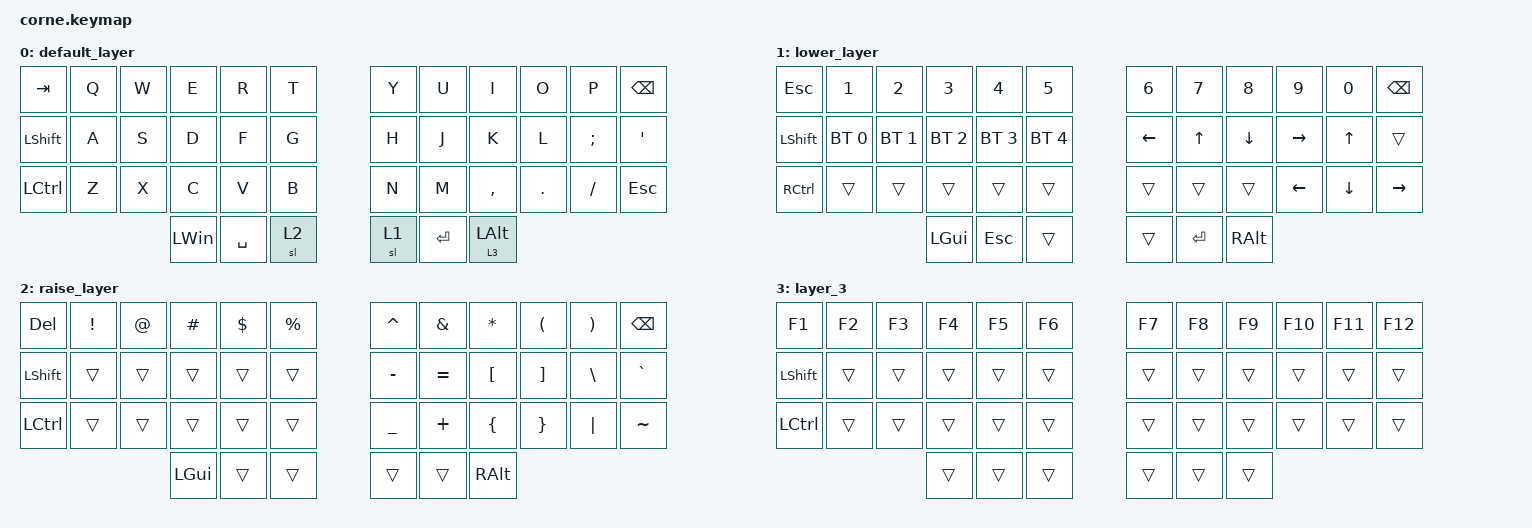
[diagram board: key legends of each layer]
/*
 * Copyright (c) 2020 The ZMK Contributors
 *
 * SPDX-License-Identifier: MIT
 */

#include <behaviors.dtsi>
#include <dt-bindings/zmk/bt.h>
#include <dt-bindings/zmk/keys.h>

/ {
    combos {
        compatible = "zmk,combos";

        commandq {
            bindings = <&none>;
            key-positions = <39 1>;
        };
    };

    keymap {
        compatible = "zmk,keymap";

        default_layer {
            // -----------------------------------------------------------------------------------------
            // |  TAB |  Q  |  W  |  E  |  R  |  T  |   |  Y  |  U   |  I  |  O  |  P  | BSPC |
            // | CTRL |  A  |  S  |  D  |  F  |  G  |   |  H  |  J   |  K  |  L  |  ;  |  '   |
            // | SHFT |  Z  |  X  |  C  |  V  |  B  |   |  N  |  M   |  ,  |  .  |  /  | ESC  |
            //                    | GUI | LWR | SPC |   | ENT | RSE  | ALT |

            bindings = <
&kp TAB         &kp Q  &kp W  &kp E         &kp R      &kp T    &kp Y  &kp U      &kp I           &kp O    &kp P     &kp BSPC
&kp LEFT_SHIFT  &kp A  &kp S  &kp D         &kp F      &kp G    &kp H  &kp J      &kp K           &kp L    &kp SEMI  &kp SQT
&kp LCTRL       &kp Z  &kp X  &kp C         &kp V      &kp B    &kp N  &kp M      &kp COMMA       &kp DOT  &kp FSLH  &kp ESC
                              &kp LEFT_WIN  &kp SPACE  &sl 2    &sl 1  &kp ENTER  &lt 3 LEFT_ALT
            >;
        };

        lower_layer {
            // -----------------------------------------------------------------------------------------
            // |  TAB |  1  |  2  |  3  |  4  |  5  |   |  6  |  7  |  8  |  9  |  0  | BSPC |
            // | BTCLR| BT1 | BT2 | BT3 | BT4 | BT5 |   | LFT | DWN |  UP | RGT |     |      |
            // | SHFT |     |     |     |     |     |   |     |     |     |     |     |      |
            //                    | GUI |     | SPC |   | ENT |     | ALT |

            bindings = <
&kp ESC            &kp N1        &kp N2        &kp N3        &kp N4        &kp N5          &kp N6          &kp N7        &kp N8          &kp N9           &kp N0          &kp BSPC
&kp LEFT_SHIFT     &bt BT_SEL 0  &bt BT_SEL 1  &bt BT_SEL 2  &bt BT_SEL 3  &bt BT_SEL 4    &kp LEFT_ARROW  &kp UP_ARROW  &kp DOWN_ARROW  &kp RIGHT_ARROW  &kp UP_ARROW    &trans
&kp RIGHT_CONTROL  &trans        &trans        &trans        &trans        &trans          &trans          &trans        &trans          &kp LEFT_ARROW   &kp DOWN_ARROW  &kp RIGHT_ARROW
                                               &kp LGUI      &kp ESCAPE    &trans          &trans          &kp ENTER     &kp RALT
            >;
        };

        raise_layer {
            // -----------------------------------------------------------------------------------------
            // |  TAB |  !  |  @  |  #  |  $  |  %  |   |  ^  |  &  |  *  |  (  |  )  | BSPC |
            // | CTRL |     |     |     |     |     |   |  -  |  =  |  [  |  ]  |  \  |  `   |
            // | SHFT |     |     |     |     |     |   |  _  |  +  |  {  |  }  | "|" |  ~   |
            //                    | GUI |     | SPC |   | ENT |     | ALT |

            bindings = <
&kp DELETE        &kp EXCL  &kp AT  &kp HASH  &kp DLLR  &kp PRCNT    &kp CARET  &kp AMPS   &kp ASTRK  &kp LPAR  &kp RPAR  &kp BSPC
&kp LEFT_SHIFT    &trans    &trans  &trans    &trans    &trans       &kp MINUS  &kp EQUAL  &kp LBKT   &kp RBKT  &kp BSLH  &kp GRAVE
&kp LEFT_CONTROL  &trans    &trans  &trans    &trans    &trans       &kp UNDER  &kp PLUS   &kp LBRC   &kp RBRC  &kp PIPE  &kp TILDE
                                    &kp LGUI  &trans    &trans       &trans     &trans     &kp RALT
            >;
        };

        layer_3 {
            bindings = <
&kp F1            &kp F2  &kp F3  &kp F4  &kp F5  &kp F6    &kp F7  &kp F8  &kp F9  &kp F10  &kp F11  &kp F12
&kp LEFT_SHIFT    &trans  &trans  &trans  &trans  &trans    &trans  &trans  &trans  &trans   &trans   &trans
&kp LEFT_CONTROL  &trans  &trans  &trans  &trans  &trans    &trans  &trans  &trans  &trans   &trans   &trans
                                  &trans  &trans  &trans    &trans  &trans  &trans
            >;
        };
    };
};
